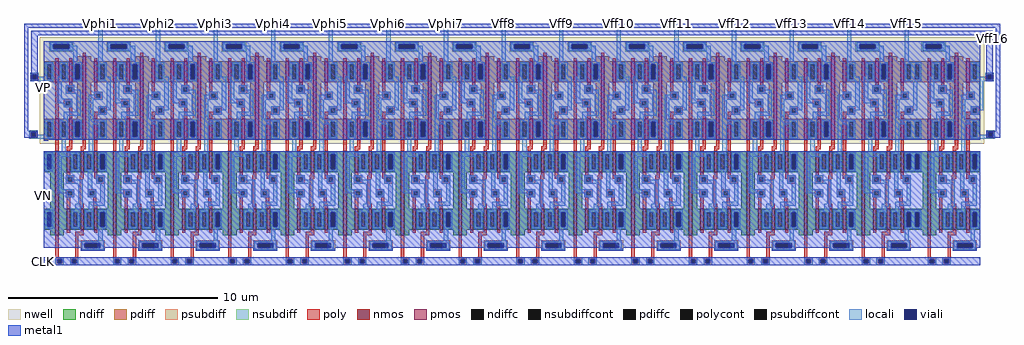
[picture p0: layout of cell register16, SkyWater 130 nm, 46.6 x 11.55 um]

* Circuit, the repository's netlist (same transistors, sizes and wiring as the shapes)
* SPICE3 file created from register16.ext - technology: sky130A

.subckt csrl_dff2 D DB Q QB CLK VP VN
X0 VP a_n950_630# a_n950_1180# VP sky130_fd_pr__pfet_01v8 ad=0.5 pd=3.16 as=0.25 ps=1.5 w=1 l=0.15
X1 a_n950_630# a_n950_1180# a_n950_n280# VN sky130_fd_pr__nfet_01v8 ad=0.25 pd=1.5 as=0.433 ps=3.03 w=1 l=0.15
X2 a_n950_630# CLK DB VP sky130_fd_pr__pfet_01v8 ad=0.25 pd=1.5 as=0.75 ps=3.5 w=1 l=0.15
X3 QB CLK a_n950_630# VN sky130_fd_pr__nfet_01v8 ad=0.25 pd=1.5 as=0.25 ps=1.5 w=1 l=0.15
X4 VP a_n950_1180# a_n950_630# VP sky130_fd_pr__pfet_01v8 ad=0.5 pd=3.16 as=0.25 ps=1.5 w=1 l=0.15
X5 VN Q QB VN sky130_fd_pr__nfet_01v8 ad=0.5 pd=3 as=0.25 ps=1.5 w=1 l=0.15
X6 a_n690_630# CLK VP VP sky130_fd_pr__pfet_01v8 ad=0.433 pd=3.03 as=0.5 ps=3.16 w=4 l=0.15
X7 a_n950_n280# CLK VN VN sky130_fd_pr__nfet_01v8 ad=0.433 pd=3.03 as=2 ps=10.5 w=4 l=0.15
X8 a_n950_1180# a_n950_630# a_n950_n280# VN sky130_fd_pr__nfet_01v8 ad=0.25 pd=1.5 as=0.433 ps=3.03 w=1 l=0.15
X9 Q CLK a_n950_1180# VN sky130_fd_pr__nfet_01v8 ad=0.25 pd=1.5 as=0.25 ps=1.5 w=1 l=0.15
X10 VN QB Q VN sky130_fd_pr__nfet_01v8 ad=0.5 pd=3 as=0.25 ps=1.5 w=1 l=0.15
X11 Q QB a_n690_630# VP sky130_fd_pr__pfet_01v8 ad=0.5 pd=3 as=0.433 ps=3.03 w=1 l=0.15
X12 QB Q a_n690_630# VP sky130_fd_pr__pfet_01v8 ad=0.5 pd=3 as=0.433 ps=3.03 w=1 l=0.15
X13 a_n950_1180# CLK D VP sky130_fd_pr__pfet_01v8 ad=0.25 pd=1.5 as=0.75 ps=3.5 w=1 l=0.15
.ends

.subckt csrl_dff3 D DB Q QB CLK VP VN
X0 VP a_n950_630# a_n950_1180# VP sky130_fd_pr__pfet_01v8 ad=0.5 pd=3.16 as=0.25 ps=1.5 w=1 l=0.15
X1 a_n950_630# a_n950_1180# a_n950_n280# VN sky130_fd_pr__nfet_01v8 ad=0.25 pd=1.5 as=0.433 ps=3.03 w=1 l=0.15
X2 a_n950_630# CLK DB VP sky130_fd_pr__pfet_01v8 ad=0.25 pd=1.5 as=0.75 ps=3.5 w=1 l=0.15
X3 QB CLK a_n950_630# VN sky130_fd_pr__nfet_01v8 ad=0.25 pd=1.5 as=0.25 ps=1.5 w=1 l=0.15
X4 VP a_n950_1180# a_n950_630# VP sky130_fd_pr__pfet_01v8 ad=0.5 pd=3.16 as=0.25 ps=1.5 w=1 l=0.15
X5 VN Q QB VN sky130_fd_pr__nfet_01v8 ad=0.5 pd=3 as=0.25 ps=1.5 w=1 l=0.15
X6 a_n690_630# CLK VP VP sky130_fd_pr__pfet_01v8 ad=0.433 pd=3.03 as=0.5 ps=3.16 w=4 l=0.15
X7 a_n950_n280# CLK VN VN sky130_fd_pr__nfet_01v8 ad=0.433 pd=3.03 as=2 ps=10.5 w=4 l=0.15
X8 a_n950_1180# a_n950_630# a_n950_n280# VN sky130_fd_pr__nfet_01v8 ad=0.25 pd=1.5 as=0.433 ps=3.03 w=1 l=0.15
X9 Q CLK a_n950_1180# VN sky130_fd_pr__nfet_01v8 ad=0.25 pd=1.5 as=0.25 ps=1.5 w=1 l=0.15
X10 VN QB Q VN sky130_fd_pr__nfet_01v8 ad=0.5 pd=3 as=0.25 ps=1.5 w=1 l=0.15
X11 Q QB a_n690_630# VP sky130_fd_pr__pfet_01v8 ad=0.5 pd=3 as=0.433 ps=3.03 w=1 l=0.15
X12 QB Q a_n690_630# VP sky130_fd_pr__pfet_01v8 ad=0.5 pd=3 as=0.433 ps=3.03 w=1 l=0.15
X13 a_n950_1180# CLK D VP sky130_fd_pr__pfet_01v8 ad=0.25 pd=1.5 as=0.75 ps=3.5 w=1 l=0.15
.ends

.subckt csrl_dff1 D DB Q QB CLK VP VN
X0 VP a_n950_630# a_n950_1180# VP sky130_fd_pr__pfet_01v8 ad=0.5 pd=3.16 as=0.25 ps=1.5 w=1 l=0.15
X1 a_n950_630# a_n950_1180# a_n950_n280# VN sky130_fd_pr__nfet_01v8 ad=0.25 pd=1.5 as=0.433 ps=3.03 w=1 l=0.15
X2 a_n950_630# CLK DB VP sky130_fd_pr__pfet_01v8 ad=0.25 pd=1.5 as=0.55 ps=3.1 w=1 l=0.15
X3 QB CLK a_n950_630# VN sky130_fd_pr__nfet_01v8 ad=0.25 pd=1.5 as=0.25 ps=1.5 w=1 l=0.15
X4 VP a_n950_1180# a_n950_630# VP sky130_fd_pr__pfet_01v8 ad=0.5 pd=3.16 as=0.25 ps=1.5 w=1 l=0.15
X5 VN Q QB VN sky130_fd_pr__nfet_01v8 ad=0.5 pd=3 as=0.25 ps=1.5 w=1 l=0.15
X6 a_n690_630# CLK VP VP sky130_fd_pr__pfet_01v8 ad=0.433 pd=3.03 as=0.5 ps=3.16 w=4 l=0.15
X7 a_n950_n280# CLK VN VN sky130_fd_pr__nfet_01v8 ad=0.433 pd=3.03 as=1.6 ps=9.7 w=4 l=0.15
X8 a_n950_1180# a_n950_630# a_n950_n280# VN sky130_fd_pr__nfet_01v8 ad=0.25 pd=1.5 as=0.433 ps=3.03 w=1 l=0.15
X9 Q CLK a_n950_1180# VN sky130_fd_pr__nfet_01v8 ad=0.25 pd=1.5 as=0.25 ps=1.5 w=1 l=0.15
X10 VN QB Q VN sky130_fd_pr__nfet_01v8 ad=0.5 pd=3 as=0.25 ps=1.5 w=1 l=0.15
X11 Q QB a_n690_630# VP sky130_fd_pr__pfet_01v8 ad=0.5 pd=3 as=0.433 ps=3.03 w=1 l=0.15
X12 QB Q a_n690_630# VP sky130_fd_pr__pfet_01v8 ad=0.5 pd=3 as=0.433 ps=3.03 w=1 l=0.15
X13 a_n950_1180# CLK D VP sky130_fd_pr__pfet_01v8 ad=0.25 pd=1.5 as=0.55 ps=3.1 w=1 l=0.15
.ends

.subckt register16 VP VN Vphi1 Vphi2 Vphi3 Vphi4 Vphi5 Vphi6 Vphi7 Vff8 Vff9 Vff10
+ Vff11 Vff12 Vff13 Vff14 Vff15 Vff16 CLK
Xcsrl_dff2_10 Vff11 csrl_dff2_9/QB Vff12 csrl_dff2_11/DB CLK VP VN csrl_dff2
Xcsrl_dff2_11 Vff12 csrl_dff2_11/DB Vff13 csrl_dff2_12/DB CLK VP VN csrl_dff2
Xcsrl_dff2_12 Vff13 csrl_dff2_12/DB Vff14 csrl_dff2_13/DB CLK VP VN csrl_dff2
Xcsrl_dff2_0 Vphi1 csrl_dff2_0/DB Vphi2 csrl_dff2_1/DB CLK VP VN csrl_dff2
Xcsrl_dff2_13 Vff14 csrl_dff2_13/DB Vff15 csrl_dff3_0/DB CLK VP VN csrl_dff2
Xcsrl_dff2_2 Vphi3 csrl_dff2_2/DB Vphi4 csrl_dff2_3/DB CLK VP VN csrl_dff2
Xcsrl_dff2_1 Vphi2 csrl_dff2_1/DB Vphi3 csrl_dff2_2/DB CLK VP VN csrl_dff2
Xcsrl_dff2_3 Vphi4 csrl_dff2_3/DB Vphi5 csrl_dff2_4/DB CLK VP VN csrl_dff2
Xcsrl_dff2_4 Vphi5 csrl_dff2_4/DB Vphi6 csrl_dff2_5/DB CLK VP VN csrl_dff2
Xcsrl_dff2_5 Vphi6 csrl_dff2_5/DB Vphi7 csrl_dff2_6/DB CLK VP VN csrl_dff2
Xcsrl_dff2_6 Vphi7 csrl_dff2_6/DB Vff8 csrl_dff2_7/DB CLK VP VN csrl_dff2
Xcsrl_dff2_7 Vff8 csrl_dff2_7/DB Vff9 csrl_dff2_8/DB CLK VP VN csrl_dff2
Xcsrl_dff2_8 Vff9 csrl_dff2_8/DB Vff10 csrl_dff2_9/DB CLK VP VN csrl_dff2
Xcsrl_dff2_9 Vff10 csrl_dff2_9/DB Vff11 csrl_dff2_9/QB CLK VP VN csrl_dff2
Xcsrl_dff3_0 Vff15 csrl_dff3_0/DB Vff16 csrl_dff3_0/QB CLK VP VN csrl_dff3
Xcsrl_dff1_0 Vff16 csrl_dff3_0/QB Vphi1 csrl_dff2_0/DB CLK VP VN csrl_dff1
.ends

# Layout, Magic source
magic
tech sky130A
<< poly >>
rect -60 895 -20 905
rect -60 875 -50 895
rect -30 875 -20 895
rect -60 865 -20 875
rect 4500 895 4540 905
rect 4500 875 4510 895
rect 4530 875 4540 895
rect 4500 865 4540 875
rect -65 620 -25 630
rect -65 600 -55 620
rect -35 600 -25 620
rect -65 590 -25 600
rect 4505 620 4545 630
rect 4505 600 4515 620
rect 4535 600 4545 620
rect 4505 590 4545 600
<< polycont >>
rect -50 875 -30 895
rect 4510 875 4530 895
rect -55 600 -35 620
rect 4515 600 4535 620
<< locali >>
rect 265 1055 285 1140
rect 540 1055 560 1140
rect 815 1055 835 1140
rect 1090 1055 1110 1140
rect 1365 1055 1385 1140
rect 1640 1055 1660 1140
rect 1915 1055 1935 1140
rect 2190 1055 2210 1140
rect 2465 1055 2485 1140
rect 2740 1055 2760 1140
rect 3015 1055 3035 1140
rect 3290 1055 3310 1140
rect 3565 1055 3585 1140
rect 3840 1055 3860 1140
rect 4115 1055 4135 1140
rect -60 895 -20 905
rect -60 875 -50 895
rect -30 885 -20 895
rect 4500 895 4540 905
rect 4500 885 4510 895
rect -30 875 5 885
rect -60 865 5 875
rect 4475 875 4510 885
rect 4530 875 4540 895
rect 4475 865 4540 875
rect -65 620 -25 630
rect -65 600 -55 620
rect -35 610 -25 620
rect 4505 620 4545 630
rect 4505 610 4515 620
rect -35 600 5 610
rect -65 590 5 600
rect 4475 600 4515 610
rect 4535 600 4545 620
rect 4475 590 4545 600
<< viali >>
rect -50 875 -30 895
rect 4510 875 4530 895
rect -55 600 -35 620
rect 4515 600 4535 620
<< metal1 >>
rect -90 1120 4570 1140
rect -90 625 -70 1120
rect -55 1085 4535 1105
rect -55 895 -25 1085
rect -55 875 -50 895
rect -30 875 -25 895
rect -55 865 -25 875
rect -90 620 -25 625
rect -90 600 -55 620
rect -35 600 -25 620
rect -90 595 -25 600
rect 5 585 45 1055
rect 4505 895 4535 1085
rect 4505 875 4510 895
rect 4530 875 4535 895
rect 4505 865 4535 875
rect 4550 625 4570 1120
rect 4505 620 4570 625
rect 4505 600 4515 620
rect 4535 600 4570 620
rect 4505 595 4570 600
rect 5 580 25 585
rect 5 70 50 530
rect 5 -15 40 25
use csrl_dff1  csrl_dff1_0
transform 1 0 550 0 1 270
box -565 -285 -220 805
use csrl_dff2  csrl_dff2_0
transform 1 0 825 0 1 270
box -585 -285 -220 805
use csrl_dff2  csrl_dff2_1
transform 1 0 1100 0 1 270
box -585 -285 -220 805
use csrl_dff2  csrl_dff2_2
transform 1 0 1375 0 1 270
box -585 -285 -220 805
use csrl_dff2  csrl_dff2_3
transform 1 0 1650 0 1 270
box -585 -285 -220 805
use csrl_dff2  csrl_dff2_4
transform 1 0 1925 0 1 270
box -585 -285 -220 805
use csrl_dff2  csrl_dff2_5
transform 1 0 2200 0 1 270
box -585 -285 -220 805
use csrl_dff2  csrl_dff2_6
transform 1 0 2475 0 1 270
box -585 -285 -220 805
use csrl_dff2  csrl_dff2_7
transform 1 0 2750 0 1 270
box -585 -285 -220 805
use csrl_dff2  csrl_dff2_8
transform 1 0 3025 0 1 270
box -585 -285 -220 805
use csrl_dff2  csrl_dff2_9
transform 1 0 3300 0 1 270
box -585 -285 -220 805
use csrl_dff2  csrl_dff2_10
transform 1 0 3575 0 1 270
box -585 -285 -220 805
use csrl_dff2  csrl_dff2_11
transform 1 0 3850 0 1 270
box -585 -285 -220 805
use csrl_dff2  csrl_dff2_12
transform 1 0 4125 0 1 270
box -585 -285 -220 805
use csrl_dff2  csrl_dff2_13
transform 1 0 4400 0 1 270
box -585 -285 -220 805
use csrl_dff3  csrl_dff3_0
transform 1 0 4715 0 1 270
box -585 -285 -220 805
<< labels >>
rlabel locali 275 1140 275 1140 1 Vphi1
port 3 n
rlabel locali 550 1140 550 1140 1 Vphi2
port 4 n
rlabel locali 825 1140 825 1140 1 Vphi3
port 5 n
rlabel locali 1100 1140 1100 1140 1 Vphi4
port 6 n
rlabel locali 1375 1140 1375 1140 1 Vphi5
port 7 n
rlabel locali 1650 1140 1650 1140 1 Vphi6
port 8 n
rlabel locali 1925 1140 1925 1140 1 Vphi7
port 9 n
rlabel metal1 4535 1070 4535 1070 3 Vff16
port 18 e
rlabel locali 2200 1140 2200 1140 1 Vff8
port 10 n
rlabel locali 2475 1140 2475 1140 1 Vff9
port 11 n
rlabel locali 2750 1140 2750 1140 1 Vff10
port 12 n
rlabel locali 3025 1140 3025 1140 1 Vff11
port 13 n
rlabel locali 3300 1140 3300 1140 1 Vff12
port 14 n
rlabel locali 3575 1140 3575 1140 1 Vff13
port 15 n
rlabel locali 3850 1140 3850 1140 1 Vff14
port 16 n
rlabel locali 4125 1140 4125 1140 1 Vff15
port 17 n
rlabel metal1 5 320 5 320 7 VN
port 2 w
rlabel metal1 5 835 5 835 7 VP
port 1 w
rlabel metal1 5 5 5 5 7 CLK
port 19 w
<< end >>

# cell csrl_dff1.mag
magic
tech sky130A
<< nwell >>
rect -565 295 -220 805
<< nmos >>
rect -490 -140 -475 260
rect -435 160 -420 260
rect -370 160 -355 260
rect -305 160 -290 260
rect -435 -115 -420 -15
rect -370 -115 -355 -15
rect -305 -115 -290 -15
<< pmos >>
rect -490 590 -475 690
rect -425 590 -410 690
rect -490 315 -475 415
rect -425 315 -410 415
rect -360 315 -345 715
rect -305 590 -290 690
rect -305 315 -290 415
<< ndiff >>
rect -545 245 -490 260
rect -545 175 -530 245
rect -510 175 -490 245
rect -545 160 -490 175
rect -515 -15 -490 160
rect -545 -30 -490 -15
rect -545 -100 -530 -30
rect -510 -100 -490 -30
rect -545 -115 -490 -100
rect -515 -140 -490 -115
rect -475 160 -435 260
rect -420 245 -370 260
rect -420 175 -405 245
rect -385 175 -370 245
rect -420 160 -370 175
rect -355 245 -305 260
rect -355 175 -340 245
rect -320 175 -305 245
rect -355 160 -305 175
rect -290 245 -240 260
rect -290 175 -275 245
rect -255 175 -240 245
rect -290 160 -240 175
rect -475 -15 -450 160
rect -475 -115 -435 -15
rect -420 -30 -370 -15
rect -420 -100 -405 -30
rect -385 -100 -370 -30
rect -420 -115 -370 -100
rect -355 -30 -305 -15
rect -355 -100 -340 -30
rect -320 -100 -305 -30
rect -355 -115 -305 -100
rect -290 -30 -240 -15
rect -290 -100 -275 -30
rect -255 -100 -240 -30
rect -290 -115 -240 -100
rect -475 -140 -450 -115
<< pdiff >>
rect -385 690 -360 715
rect -545 675 -490 690
rect -545 605 -530 675
rect -510 605 -490 675
rect -545 590 -490 605
rect -475 675 -425 690
rect -475 605 -460 675
rect -440 605 -425 675
rect -475 590 -425 605
rect -410 675 -360 690
rect -410 605 -395 675
rect -375 605 -360 675
rect -410 590 -360 605
rect -385 415 -360 590
rect -545 400 -490 415
rect -545 330 -530 400
rect -510 330 -490 400
rect -545 315 -490 330
rect -475 400 -425 415
rect -475 330 -460 400
rect -440 330 -425 400
rect -475 315 -425 330
rect -410 400 -360 415
rect -410 330 -395 400
rect -375 330 -360 400
rect -410 315 -360 330
rect -345 690 -320 715
rect -345 590 -305 690
rect -290 675 -240 690
rect -290 605 -275 675
rect -255 605 -240 675
rect -290 590 -240 605
rect -345 415 -320 590
rect -345 315 -305 415
rect -290 400 -240 415
rect -290 330 -275 400
rect -255 330 -240 400
rect -290 315 -240 330
<< ndiffc >>
rect -530 175 -510 245
rect -530 -100 -510 -30
rect -405 175 -385 245
rect -340 175 -320 245
rect -275 175 -255 245
rect -405 -100 -385 -30
rect -340 -100 -320 -30
rect -275 -100 -255 -30
<< pdiffc >>
rect -530 605 -510 675
rect -460 605 -440 675
rect -395 605 -375 675
rect -530 330 -510 400
rect -460 330 -440 400
rect -395 330 -375 400
rect -275 605 -255 675
rect -275 330 -255 400
<< psubdiff >>
rect -370 -180 -255 -165
rect -370 -200 -350 -180
rect -275 -200 -255 -180
rect -370 -215 -255 -200
<< nsubdiff >>
rect -520 770 -405 785
rect -520 750 -500 770
rect -425 750 -405 770
rect -520 735 -405 750
<< psubdiffcont >>
rect -350 -200 -275 -180
<< nsubdiffcont >>
rect -500 750 -425 770
<< poly >>
rect -360 715 -345 730
rect -490 690 -475 705
rect -425 690 -410 705
rect -490 415 -475 590
rect -425 575 -410 590
rect -440 565 -400 575
rect -440 545 -430 565
rect -410 545 -400 565
rect -440 535 -400 545
rect -450 500 -410 510
rect -450 480 -440 500
rect -420 480 -410 500
rect -450 470 -410 480
rect -425 415 -410 470
rect -305 690 -290 705
rect -305 545 -290 590
rect -305 535 -265 545
rect -305 515 -295 535
rect -275 515 -265 535
rect -305 505 -265 515
rect -285 465 -245 475
rect -285 450 -275 465
rect -305 445 -275 450
rect -255 445 -245 465
rect -305 435 -245 445
rect -305 415 -290 435
rect -490 260 -475 315
rect -425 285 -410 315
rect -360 285 -345 315
rect -435 270 -410 285
rect -370 270 -345 285
rect -435 260 -420 270
rect -370 260 -355 270
rect -305 260 -290 315
rect -435 145 -420 160
rect -370 145 -355 160
rect -440 135 -400 145
rect -440 115 -430 135
rect -410 115 -400 135
rect -440 105 -400 115
rect -375 130 -355 145
rect -305 145 -290 160
rect -305 135 -255 145
rect -305 130 -285 135
rect -440 70 -400 80
rect -440 50 -430 70
rect -410 50 -400 70
rect -440 40 -400 50
rect -435 -15 -420 40
rect -375 10 -360 130
rect -295 115 -285 130
rect -265 115 -255 135
rect -295 105 -255 115
rect -335 70 -295 80
rect -335 50 -325 70
rect -305 50 -295 70
rect -335 40 -295 50
rect -310 10 -295 40
rect -375 -5 -355 10
rect -310 -5 -290 10
rect -370 -15 -355 -5
rect -305 -15 -290 -5
rect -435 -130 -420 -115
rect -370 -125 -355 -115
rect -395 -140 -355 -125
rect -305 -130 -290 -115
rect -490 -245 -475 -140
rect -395 -245 -380 -140
rect -490 -255 -450 -245
rect -490 -275 -480 -255
rect -460 -275 -450 -255
rect -490 -285 -450 -275
rect -420 -255 -380 -245
rect -420 -275 -410 -255
rect -390 -275 -380 -255
rect -420 -285 -380 -275
<< polycont >>
rect -430 545 -410 565
rect -440 480 -420 500
rect -295 515 -275 535
rect -275 445 -255 465
rect -430 115 -410 135
rect -430 50 -410 70
rect -285 115 -265 135
rect -325 50 -305 70
rect -480 -275 -460 -255
rect -410 -275 -390 -255
<< locali >>
rect -515 770 -410 780
rect -515 750 -500 770
rect -425 765 -410 770
rect -425 750 -385 765
rect -515 740 -385 750
rect -410 735 -385 740
rect -405 685 -385 735
rect -285 685 -265 805
rect -540 675 -500 685
rect -540 615 -530 675
rect -565 605 -530 615
rect -510 605 -500 675
rect -470 675 -430 685
rect -470 615 -460 675
rect -565 595 -500 605
rect -480 605 -460 615
rect -440 605 -430 675
rect -480 595 -430 605
rect -405 675 -365 685
rect -405 605 -395 675
rect -375 605 -365 675
rect -405 595 -365 605
rect -285 675 -245 685
rect -285 605 -275 675
rect -255 615 -245 675
rect -255 605 -225 615
rect -285 595 -225 605
rect -480 510 -460 595
rect -440 565 -400 575
rect -440 545 -430 565
rect -410 555 -400 565
rect -410 545 -370 555
rect -440 535 -370 545
rect -480 500 -410 510
rect -480 490 -440 500
rect -450 480 -440 490
rect -420 480 -410 500
rect -450 470 -410 480
rect -390 450 -370 535
rect -305 535 -265 545
rect -305 530 -295 535
rect -450 430 -370 450
rect -330 515 -295 530
rect -275 515 -265 535
rect -330 505 -265 515
rect -450 410 -430 430
rect -330 410 -310 505
rect -245 475 -225 595
rect -285 465 -225 475
rect -285 445 -275 465
rect -255 455 -225 465
rect -255 445 -245 455
rect -285 435 -245 445
rect -540 400 -500 410
rect -540 340 -530 400
rect -565 330 -530 340
rect -510 330 -500 400
rect -565 320 -500 330
rect -470 400 -430 410
rect -470 330 -460 400
rect -440 330 -430 400
rect -470 320 -430 330
rect -405 400 -365 410
rect -405 330 -395 400
rect -375 330 -365 400
rect -405 320 -365 330
rect -330 400 -245 410
rect -330 390 -275 400
rect -460 255 -440 320
rect -330 255 -310 390
rect -285 330 -275 390
rect -255 330 -245 400
rect -285 320 -245 330
rect -540 245 -500 255
rect -540 175 -530 245
rect -510 175 -500 245
rect -540 165 -500 175
rect -480 245 -375 255
rect -480 235 -405 245
rect -480 80 -460 235
rect -415 175 -405 235
rect -385 175 -375 245
rect -415 165 -375 175
rect -350 245 -310 255
rect -350 175 -340 245
rect -320 175 -310 245
rect -350 165 -310 175
rect -285 245 -245 255
rect -285 175 -275 245
rect -255 175 -245 245
rect -285 165 -245 175
rect -440 135 -400 145
rect -440 115 -430 135
rect -410 125 -400 135
rect -410 115 -360 125
rect -440 105 -360 115
rect -480 70 -400 80
rect -480 60 -430 70
rect -440 50 -430 60
rect -410 50 -400 70
rect -440 40 -400 50
rect -380 10 -360 105
rect -335 80 -315 165
rect -295 135 -255 145
rect -295 115 -285 135
rect -265 115 -255 135
rect -295 105 -255 115
rect -335 70 -295 80
rect -335 50 -325 70
rect -305 50 -295 70
rect -335 40 -295 50
rect -275 20 -255 105
rect -395 -5 -360 10
rect -330 0 -255 20
rect -395 -20 -370 -5
rect -330 -20 -310 0
rect -540 -30 -500 -20
rect -540 -100 -530 -30
rect -510 -100 -500 -30
rect -540 -110 -500 -100
rect -415 -30 -370 -20
rect -350 -30 -310 -20
rect -415 -100 -405 -30
rect -385 -100 -375 -30
rect -415 -110 -375 -100
rect -350 -100 -340 -30
rect -320 -100 -310 -30
rect -350 -110 -310 -100
rect -285 -30 -245 -20
rect -285 -100 -275 -30
rect -255 -100 -245 -30
rect -285 -110 -245 -100
rect -285 -170 -265 -110
rect -365 -180 -260 -170
rect -365 -200 -350 -180
rect -275 -200 -260 -180
rect -365 -210 -260 -200
rect -490 -255 -450 -245
rect -490 -275 -480 -255
rect -460 -275 -450 -255
rect -490 -285 -450 -275
rect -420 -255 -380 -245
rect -420 -275 -410 -255
rect -390 -275 -380 -255
rect -420 -285 -380 -275
<< viali >>
rect -500 750 -425 770
rect -395 605 -375 675
rect -395 330 -375 400
rect -530 175 -510 245
rect -275 175 -255 245
rect -530 -100 -510 -30
rect -275 -100 -255 -30
rect -350 -200 -275 -180
rect -480 -275 -460 -255
rect -410 -275 -390 -255
<< metal1 >>
rect -545 770 -240 785
rect -545 750 -500 770
rect -425 750 -240 770
rect -545 675 -240 750
rect -545 605 -395 675
rect -375 605 -240 675
rect -545 400 -240 605
rect -545 330 -395 400
rect -375 330 -240 400
rect -545 315 -240 330
rect -545 245 -240 260
rect -545 175 -530 245
rect -510 175 -275 245
rect -255 175 -240 245
rect -545 -30 -240 175
rect -545 -100 -530 -30
rect -510 -100 -275 -30
rect -255 -100 -240 -30
rect -545 -180 -240 -100
rect -545 -200 -350 -180
rect -275 -200 -240 -180
rect -370 -215 -255 -200
rect -545 -255 -240 -245
rect -545 -275 -480 -255
rect -460 -275 -410 -255
rect -390 -275 -240 -255
rect -545 -285 -240 -275
<< labels >>
rlabel metal1 -545 550 -545 550 7 VP
port 6 w
rlabel metal1 -545 45 -545 45 7 VN
port 7 w
rlabel locali -565 605 -565 605 7 D
port 1 w
rlabel locali -565 330 -565 330 7 DB
port 2 w
rlabel locali -275 805 -275 805 1 Q
port 3 n
rlabel locali -245 365 -245 365 3 QB
port 4 e
rlabel metal1 -545 -265 -545 -265 1 CLK
port 5 n
<< end >>

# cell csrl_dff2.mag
magic
tech sky130A
<< nwell >>
rect -585 295 -220 805
<< nmos >>
rect -490 -140 -475 260
rect -435 160 -420 260
rect -370 160 -355 260
rect -305 160 -290 260
rect -435 -115 -420 -15
rect -370 -115 -355 -15
rect -305 -115 -290 -15
<< pmos >>
rect -490 590 -475 690
rect -425 590 -410 690
rect -490 315 -475 415
rect -425 315 -410 415
rect -360 315 -345 715
rect -305 590 -290 690
rect -305 315 -290 415
<< ndiff >>
rect -565 245 -490 260
rect -565 175 -550 245
rect -530 175 -490 245
rect -565 160 -490 175
rect -515 -15 -490 160
rect -565 -30 -490 -15
rect -565 -100 -550 -30
rect -530 -100 -490 -30
rect -565 -115 -490 -100
rect -515 -140 -490 -115
rect -475 160 -435 260
rect -420 245 -370 260
rect -420 175 -405 245
rect -385 175 -370 245
rect -420 160 -370 175
rect -355 245 -305 260
rect -355 175 -340 245
rect -320 175 -305 245
rect -355 160 -305 175
rect -290 245 -240 260
rect -290 175 -275 245
rect -255 175 -240 245
rect -290 160 -240 175
rect -475 -15 -450 160
rect -475 -115 -435 -15
rect -420 -30 -370 -15
rect -420 -100 -405 -30
rect -385 -100 -370 -30
rect -420 -115 -370 -100
rect -355 -30 -305 -15
rect -355 -100 -340 -30
rect -320 -100 -305 -30
rect -355 -115 -305 -100
rect -290 -30 -240 -15
rect -290 -100 -275 -30
rect -255 -100 -240 -30
rect -290 -115 -240 -100
rect -475 -140 -450 -115
<< pdiff >>
rect -385 690 -360 715
rect -565 675 -490 690
rect -565 605 -550 675
rect -530 605 -490 675
rect -565 590 -490 605
rect -475 675 -425 690
rect -475 605 -460 675
rect -440 605 -425 675
rect -475 590 -425 605
rect -410 675 -360 690
rect -410 605 -395 675
rect -375 605 -360 675
rect -410 590 -360 605
rect -385 415 -360 590
rect -565 400 -490 415
rect -565 330 -550 400
rect -530 330 -490 400
rect -565 315 -490 330
rect -475 400 -425 415
rect -475 330 -460 400
rect -440 330 -425 400
rect -475 315 -425 330
rect -410 400 -360 415
rect -410 330 -395 400
rect -375 330 -360 400
rect -410 315 -360 330
rect -345 690 -320 715
rect -345 590 -305 690
rect -290 675 -240 690
rect -290 605 -275 675
rect -255 605 -240 675
rect -290 590 -240 605
rect -345 415 -320 590
rect -345 315 -305 415
rect -290 400 -240 415
rect -290 330 -275 400
rect -255 330 -240 400
rect -290 315 -240 330
<< ndiffc >>
rect -550 175 -530 245
rect -550 -100 -530 -30
rect -405 175 -385 245
rect -340 175 -320 245
rect -275 175 -255 245
rect -405 -100 -385 -30
rect -340 -100 -320 -30
rect -275 -100 -255 -30
<< pdiffc >>
rect -550 605 -530 675
rect -460 605 -440 675
rect -395 605 -375 675
rect -550 330 -530 400
rect -460 330 -440 400
rect -395 330 -375 400
rect -275 605 -255 675
rect -275 330 -255 400
<< psubdiff >>
rect -370 -180 -255 -165
rect -370 -200 -350 -180
rect -275 -200 -255 -180
rect -370 -215 -255 -200
<< nsubdiff >>
rect -520 770 -405 785
rect -520 750 -500 770
rect -425 750 -405 770
rect -520 735 -405 750
<< psubdiffcont >>
rect -350 -200 -275 -180
<< nsubdiffcont >>
rect -500 750 -425 770
<< poly >>
rect -360 715 -345 730
rect -490 690 -475 705
rect -425 690 -410 705
rect -490 415 -475 590
rect -425 575 -410 590
rect -440 565 -400 575
rect -440 545 -430 565
rect -410 545 -400 565
rect -440 535 -400 545
rect -450 500 -410 510
rect -450 480 -440 500
rect -420 480 -410 500
rect -450 470 -410 480
rect -425 415 -410 470
rect -305 690 -290 705
rect -305 545 -290 590
rect -305 535 -265 545
rect -305 515 -295 535
rect -275 515 -265 535
rect -305 505 -265 515
rect -285 465 -245 475
rect -285 450 -275 465
rect -305 445 -275 450
rect -255 445 -245 465
rect -305 435 -245 445
rect -305 415 -290 435
rect -490 260 -475 315
rect -425 285 -410 315
rect -360 285 -345 315
rect -435 270 -410 285
rect -370 270 -345 285
rect -435 260 -420 270
rect -370 260 -355 270
rect -305 260 -290 315
rect -435 145 -420 160
rect -370 145 -355 160
rect -440 135 -400 145
rect -440 115 -430 135
rect -410 115 -400 135
rect -440 105 -400 115
rect -375 130 -355 145
rect -305 145 -290 160
rect -305 135 -255 145
rect -305 130 -285 135
rect -440 70 -400 80
rect -440 50 -430 70
rect -410 50 -400 70
rect -440 40 -400 50
rect -435 -15 -420 40
rect -375 10 -360 130
rect -295 115 -285 130
rect -265 115 -255 135
rect -295 105 -255 115
rect -335 70 -295 80
rect -335 50 -325 70
rect -305 50 -295 70
rect -335 40 -295 50
rect -310 10 -295 40
rect -375 -5 -355 10
rect -310 -5 -290 10
rect -370 -15 -355 -5
rect -305 -15 -290 -5
rect -435 -130 -420 -115
rect -370 -125 -355 -115
rect -395 -140 -355 -125
rect -305 -130 -290 -115
rect -490 -245 -475 -140
rect -395 -245 -380 -140
rect -490 -255 -450 -245
rect -490 -275 -480 -255
rect -460 -275 -450 -255
rect -490 -285 -450 -275
rect -420 -255 -380 -245
rect -420 -275 -410 -255
rect -390 -275 -380 -255
rect -420 -285 -380 -275
<< polycont >>
rect -430 545 -410 565
rect -440 480 -420 500
rect -295 515 -275 535
rect -275 445 -255 465
rect -430 115 -410 135
rect -430 50 -410 70
rect -285 115 -265 135
rect -325 50 -305 70
rect -480 -275 -460 -255
rect -410 -275 -390 -255
<< locali >>
rect -515 770 -410 780
rect -515 750 -500 770
rect -425 765 -410 770
rect -425 750 -385 765
rect -515 740 -385 750
rect -410 735 -385 740
rect -405 685 -385 735
rect -285 685 -265 805
rect -560 675 -520 685
rect -560 605 -550 675
rect -530 605 -520 675
rect -470 675 -430 685
rect -470 615 -460 675
rect -560 595 -520 605
rect -480 605 -460 615
rect -440 605 -430 675
rect -480 595 -430 605
rect -405 675 -365 685
rect -405 605 -395 675
rect -375 605 -365 675
rect -405 595 -365 605
rect -285 675 -245 685
rect -285 605 -275 675
rect -255 615 -245 675
rect -255 605 -225 615
rect -285 595 -225 605
rect -480 510 -460 595
rect -440 565 -400 575
rect -440 545 -430 565
rect -410 555 -400 565
rect -410 545 -370 555
rect -440 535 -370 545
rect -480 500 -410 510
rect -480 490 -440 500
rect -450 480 -440 490
rect -420 480 -410 500
rect -450 470 -410 480
rect -390 450 -370 535
rect -305 535 -265 545
rect -305 530 -295 535
rect -450 430 -370 450
rect -330 515 -295 530
rect -275 515 -265 535
rect -330 505 -265 515
rect -450 410 -430 430
rect -330 410 -310 505
rect -245 475 -225 595
rect -285 465 -225 475
rect -285 445 -275 465
rect -255 455 -225 465
rect -255 445 -245 455
rect -285 435 -245 445
rect -560 400 -520 410
rect -560 330 -550 400
rect -530 330 -520 400
rect -560 320 -520 330
rect -470 400 -430 410
rect -470 330 -460 400
rect -440 330 -430 400
rect -470 320 -430 330
rect -405 400 -365 410
rect -405 330 -395 400
rect -375 330 -365 400
rect -405 320 -365 330
rect -330 400 -245 410
rect -330 390 -275 400
rect -460 255 -440 320
rect -330 255 -310 390
rect -285 330 -275 390
rect -255 330 -245 400
rect -285 320 -245 330
rect -560 245 -520 255
rect -560 175 -550 245
rect -530 175 -520 245
rect -560 165 -520 175
rect -480 245 -375 255
rect -480 235 -405 245
rect -480 80 -460 235
rect -415 175 -405 235
rect -385 175 -375 245
rect -415 165 -375 175
rect -350 245 -310 255
rect -350 175 -340 245
rect -320 175 -310 245
rect -350 165 -310 175
rect -285 245 -245 255
rect -285 175 -275 245
rect -255 175 -245 245
rect -285 165 -245 175
rect -440 135 -400 145
rect -440 115 -430 135
rect -410 125 -400 135
rect -410 115 -360 125
rect -440 105 -360 115
rect -480 70 -400 80
rect -480 60 -430 70
rect -440 50 -430 60
rect -410 50 -400 70
rect -440 40 -400 50
rect -380 10 -360 105
rect -335 80 -315 165
rect -295 135 -255 145
rect -295 115 -285 135
rect -265 115 -255 135
rect -295 105 -255 115
rect -335 70 -295 80
rect -335 50 -325 70
rect -305 50 -295 70
rect -335 40 -295 50
rect -275 20 -255 105
rect -395 -5 -360 10
rect -330 0 -255 20
rect -395 -20 -370 -5
rect -330 -20 -310 0
rect -560 -30 -520 -20
rect -560 -100 -550 -30
rect -530 -100 -520 -30
rect -560 -110 -520 -100
rect -415 -30 -370 -20
rect -350 -30 -310 -20
rect -415 -100 -405 -30
rect -385 -100 -375 -30
rect -415 -110 -375 -100
rect -350 -100 -340 -30
rect -320 -100 -310 -30
rect -350 -110 -310 -100
rect -285 -30 -245 -20
rect -285 -100 -275 -30
rect -255 -100 -245 -30
rect -285 -110 -245 -100
rect -285 -170 -265 -110
rect -365 -180 -260 -170
rect -365 -200 -350 -180
rect -275 -200 -260 -180
rect -365 -210 -260 -200
rect -490 -255 -450 -245
rect -490 -275 -480 -255
rect -460 -275 -450 -255
rect -490 -285 -450 -275
rect -420 -255 -380 -245
rect -420 -275 -410 -255
rect -390 -275 -380 -255
rect -420 -285 -380 -275
<< viali >>
rect -500 750 -425 770
rect -395 605 -375 675
rect -395 330 -375 400
rect -550 175 -530 245
rect -275 175 -255 245
rect -550 -100 -530 -30
rect -275 -100 -255 -30
rect -350 -200 -275 -180
rect -480 -275 -460 -255
rect -410 -275 -390 -255
<< metal1 >>
rect -565 770 -240 785
rect -565 750 -500 770
rect -425 750 -240 770
rect -565 675 -240 750
rect -565 605 -395 675
rect -375 605 -240 675
rect -565 400 -240 605
rect -565 330 -395 400
rect -375 330 -240 400
rect -565 315 -240 330
rect -565 245 -240 260
rect -565 175 -550 245
rect -530 175 -275 245
rect -255 175 -240 245
rect -565 -30 -240 175
rect -565 -100 -550 -30
rect -530 -100 -275 -30
rect -255 -100 -240 -30
rect -565 -180 -240 -100
rect -565 -200 -350 -180
rect -275 -200 -240 -180
rect -370 -215 -255 -200
rect -565 -255 -240 -245
rect -565 -275 -480 -255
rect -460 -275 -410 -255
rect -390 -275 -240 -255
rect -565 -285 -240 -275
<< labels >>
rlabel metal1 -565 45 -565 45 7 VN
port 7 w
rlabel metal1 -565 550 -565 550 7 VP
port 6 w
rlabel pdiff -565 365 -565 365 7 DB
port 2 w
rlabel pdiff -565 640 -565 640 7 D
port 1 w
rlabel locali -245 365 -245 365 3 QB
port 4 e
rlabel locali -275 805 -275 805 1 Q
port 3 n
rlabel metal1 -565 -265 -565 -265 1 CLK
port 5 n
<< end >>

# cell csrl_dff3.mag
magic
tech sky130A
<< nwell >>
rect -585 295 -220 805
<< nmos >>
rect -490 -140 -475 260
rect -435 160 -420 260
rect -370 160 -355 260
rect -305 160 -290 260
rect -435 -115 -420 -15
rect -370 -115 -355 -15
rect -305 -115 -290 -15
<< pmos >>
rect -490 590 -475 690
rect -425 590 -410 690
rect -490 315 -475 415
rect -425 315 -410 415
rect -360 315 -345 715
rect -305 590 -290 690
rect -305 315 -290 415
<< ndiff >>
rect -565 245 -490 260
rect -565 175 -550 245
rect -530 175 -490 245
rect -565 160 -490 175
rect -515 -15 -490 160
rect -565 -30 -490 -15
rect -565 -100 -550 -30
rect -530 -100 -490 -30
rect -565 -115 -490 -100
rect -515 -140 -490 -115
rect -475 160 -435 260
rect -420 245 -370 260
rect -420 175 -405 245
rect -385 175 -370 245
rect -420 160 -370 175
rect -355 245 -305 260
rect -355 175 -340 245
rect -320 175 -305 245
rect -355 160 -305 175
rect -290 245 -240 260
rect -290 175 -275 245
rect -255 175 -240 245
rect -290 160 -240 175
rect -475 -15 -450 160
rect -475 -115 -435 -15
rect -420 -30 -370 -15
rect -420 -100 -405 -30
rect -385 -100 -370 -30
rect -420 -115 -370 -100
rect -355 -30 -305 -15
rect -355 -100 -340 -30
rect -320 -100 -305 -30
rect -355 -115 -305 -100
rect -290 -30 -240 -15
rect -290 -100 -275 -30
rect -255 -100 -240 -30
rect -290 -115 -240 -100
rect -475 -140 -450 -115
<< pdiff >>
rect -385 690 -360 715
rect -565 675 -490 690
rect -565 605 -550 675
rect -530 605 -490 675
rect -565 590 -490 605
rect -475 675 -425 690
rect -475 605 -460 675
rect -440 605 -425 675
rect -475 590 -425 605
rect -410 675 -360 690
rect -410 605 -395 675
rect -375 605 -360 675
rect -410 590 -360 605
rect -385 415 -360 590
rect -565 400 -490 415
rect -565 330 -550 400
rect -530 330 -490 400
rect -565 315 -490 330
rect -475 400 -425 415
rect -475 330 -460 400
rect -440 330 -425 400
rect -475 315 -425 330
rect -410 400 -360 415
rect -410 330 -395 400
rect -375 330 -360 400
rect -410 315 -360 330
rect -345 690 -320 715
rect -345 590 -305 690
rect -290 675 -240 690
rect -290 605 -275 675
rect -255 605 -240 675
rect -290 590 -240 605
rect -345 415 -320 590
rect -345 315 -305 415
rect -290 400 -240 415
rect -290 330 -275 400
rect -255 330 -240 400
rect -290 315 -240 330
<< ndiffc >>
rect -550 175 -530 245
rect -550 -100 -530 -30
rect -405 175 -385 245
rect -340 175 -320 245
rect -275 175 -255 245
rect -405 -100 -385 -30
rect -340 -100 -320 -30
rect -275 -100 -255 -30
<< pdiffc >>
rect -550 605 -530 675
rect -460 605 -440 675
rect -395 605 -375 675
rect -550 330 -530 400
rect -460 330 -440 400
rect -395 330 -375 400
rect -275 605 -255 675
rect -275 330 -255 400
<< psubdiff >>
rect -370 -180 -255 -165
rect -370 -200 -350 -180
rect -275 -200 -255 -180
rect -370 -215 -255 -200
<< nsubdiff >>
rect -520 770 -405 785
rect -520 750 -500 770
rect -425 750 -405 770
rect -520 735 -405 750
<< psubdiffcont >>
rect -350 -200 -275 -180
<< nsubdiffcont >>
rect -500 750 -425 770
<< poly >>
rect -360 715 -345 730
rect -490 690 -475 705
rect -425 690 -410 705
rect -490 415 -475 590
rect -425 575 -410 590
rect -440 565 -400 575
rect -440 545 -430 565
rect -410 545 -400 565
rect -440 535 -400 545
rect -450 500 -410 510
rect -450 480 -440 500
rect -420 480 -410 500
rect -450 470 -410 480
rect -425 415 -410 470
rect -305 690 -290 705
rect -305 545 -290 590
rect -305 535 -265 545
rect -305 515 -295 535
rect -275 515 -265 535
rect -305 505 -265 515
rect -285 465 -245 475
rect -285 450 -275 465
rect -305 445 -275 450
rect -255 445 -245 465
rect -305 435 -245 445
rect -305 415 -290 435
rect -490 260 -475 315
rect -425 285 -410 315
rect -360 285 -345 315
rect -435 270 -410 285
rect -370 270 -345 285
rect -435 260 -420 270
rect -370 260 -355 270
rect -305 260 -290 315
rect -435 145 -420 160
rect -370 145 -355 160
rect -440 135 -400 145
rect -440 115 -430 135
rect -410 115 -400 135
rect -440 105 -400 115
rect -375 130 -355 145
rect -305 145 -290 160
rect -305 135 -255 145
rect -305 130 -285 135
rect -440 70 -400 80
rect -440 50 -430 70
rect -410 50 -400 70
rect -440 40 -400 50
rect -435 -15 -420 40
rect -375 10 -360 130
rect -295 115 -285 130
rect -265 115 -255 135
rect -295 105 -255 115
rect -335 70 -295 80
rect -335 50 -325 70
rect -305 50 -295 70
rect -335 40 -295 50
rect -310 10 -295 40
rect -375 -5 -355 10
rect -310 -5 -290 10
rect -370 -15 -355 -5
rect -305 -15 -290 -5
rect -435 -130 -420 -115
rect -370 -125 -355 -115
rect -395 -140 -355 -125
rect -305 -130 -290 -115
rect -490 -245 -475 -140
rect -395 -245 -380 -140
rect -490 -255 -450 -245
rect -490 -275 -480 -255
rect -460 -275 -450 -255
rect -490 -285 -450 -275
rect -420 -255 -380 -245
rect -420 -275 -410 -255
rect -390 -275 -380 -255
rect -420 -285 -380 -275
<< polycont >>
rect -430 545 -410 565
rect -440 480 -420 500
rect -295 515 -275 535
rect -275 445 -255 465
rect -430 115 -410 135
rect -430 50 -410 70
rect -285 115 -265 135
rect -325 50 -305 70
rect -480 -275 -460 -255
rect -410 -275 -390 -255
<< locali >>
rect -515 770 -410 780
rect -515 750 -500 770
rect -425 765 -410 770
rect -425 750 -385 765
rect -515 740 -385 750
rect -410 735 -385 740
rect -405 685 -385 735
rect -560 675 -520 685
rect -560 605 -550 675
rect -530 605 -520 675
rect -470 675 -430 685
rect -470 615 -460 675
rect -560 595 -520 605
rect -480 605 -460 615
rect -440 605 -430 675
rect -480 595 -430 605
rect -405 675 -365 685
rect -405 605 -395 675
rect -375 605 -365 675
rect -405 595 -365 605
rect -285 675 -245 685
rect -285 605 -275 675
rect -255 615 -245 675
rect -255 605 -220 615
rect -285 595 -220 605
rect -480 510 -460 595
rect -440 565 -400 575
rect -440 545 -430 565
rect -410 555 -400 565
rect -410 545 -370 555
rect -440 535 -370 545
rect -480 500 -410 510
rect -480 490 -440 500
rect -450 480 -440 490
rect -420 480 -410 500
rect -450 470 -410 480
rect -390 450 -370 535
rect -305 535 -265 545
rect -305 530 -295 535
rect -450 430 -370 450
rect -330 515 -295 530
rect -275 515 -265 535
rect -330 505 -265 515
rect -450 410 -430 430
rect -330 410 -310 505
rect -245 475 -225 595
rect -285 465 -225 475
rect -285 445 -275 465
rect -255 455 -225 465
rect -255 445 -245 455
rect -285 435 -245 445
rect -560 400 -520 410
rect -560 330 -550 400
rect -530 330 -520 400
rect -560 320 -520 330
rect -470 400 -430 410
rect -470 330 -460 400
rect -440 330 -430 400
rect -470 320 -430 330
rect -405 400 -365 410
rect -405 330 -395 400
rect -375 330 -365 400
rect -405 320 -365 330
rect -330 400 -245 410
rect -330 390 -275 400
rect -460 255 -440 320
rect -330 255 -310 390
rect -285 330 -275 390
rect -255 340 -245 400
rect -255 330 -220 340
rect -285 320 -220 330
rect -560 245 -520 255
rect -560 175 -550 245
rect -530 175 -520 245
rect -560 165 -520 175
rect -480 245 -375 255
rect -480 235 -405 245
rect -480 80 -460 235
rect -415 175 -405 235
rect -385 175 -375 245
rect -415 165 -375 175
rect -350 245 -310 255
rect -350 175 -340 245
rect -320 175 -310 245
rect -350 165 -310 175
rect -285 245 -245 255
rect -285 175 -275 245
rect -255 175 -245 245
rect -285 165 -245 175
rect -440 135 -400 145
rect -440 115 -430 135
rect -410 125 -400 135
rect -410 115 -360 125
rect -440 105 -360 115
rect -480 70 -400 80
rect -480 60 -430 70
rect -440 50 -430 60
rect -410 50 -400 70
rect -440 40 -400 50
rect -380 10 -360 105
rect -335 80 -315 165
rect -295 135 -255 145
rect -295 115 -285 135
rect -265 115 -255 135
rect -295 105 -255 115
rect -335 70 -295 80
rect -335 50 -325 70
rect -305 50 -295 70
rect -335 40 -295 50
rect -275 20 -255 105
rect -395 -5 -360 10
rect -330 0 -255 20
rect -395 -20 -370 -5
rect -330 -20 -310 0
rect -560 -30 -520 -20
rect -560 -100 -550 -30
rect -530 -100 -520 -30
rect -560 -110 -520 -100
rect -415 -30 -370 -20
rect -350 -30 -310 -20
rect -415 -100 -405 -30
rect -385 -100 -375 -30
rect -415 -110 -375 -100
rect -350 -100 -340 -30
rect -320 -100 -310 -30
rect -350 -110 -310 -100
rect -285 -30 -245 -20
rect -285 -100 -275 -30
rect -255 -100 -245 -30
rect -285 -110 -245 -100
rect -285 -170 -265 -110
rect -365 -180 -260 -170
rect -365 -200 -350 -180
rect -275 -200 -260 -180
rect -365 -210 -260 -200
rect -490 -255 -450 -245
rect -490 -275 -480 -255
rect -460 -275 -450 -255
rect -490 -285 -450 -275
rect -420 -255 -380 -245
rect -420 -275 -410 -255
rect -390 -275 -380 -255
rect -420 -285 -380 -275
<< viali >>
rect -500 750 -425 770
rect -395 605 -375 675
rect -395 330 -375 400
rect -550 175 -530 245
rect -275 175 -255 245
rect -550 -100 -530 -30
rect -275 -100 -255 -30
rect -350 -200 -275 -180
rect -480 -275 -460 -255
rect -410 -275 -390 -255
<< metal1 >>
rect -565 770 -240 785
rect -565 750 -500 770
rect -425 750 -240 770
rect -565 675 -240 750
rect -565 605 -395 675
rect -375 605 -240 675
rect -565 400 -240 605
rect -565 330 -395 400
rect -375 330 -240 400
rect -565 315 -240 330
rect -565 245 -240 260
rect -565 175 -550 245
rect -530 175 -275 245
rect -255 175 -240 245
rect -565 -30 -240 175
rect -565 -100 -550 -30
rect -530 -100 -275 -30
rect -255 -100 -240 -30
rect -565 -180 -240 -100
rect -565 -200 -350 -180
rect -275 -200 -240 -180
rect -370 -215 -255 -200
rect -565 -255 -240 -245
rect -565 -275 -480 -255
rect -460 -275 -410 -255
rect -390 -275 -240 -255
rect -565 -285 -240 -275
<< labels >>
rlabel metal1 -565 45 -565 45 7 VN
port 7 w
rlabel metal1 -565 550 -565 550 7 VP
port 6 w
rlabel locali -220 605 -220 605 3 Q
port 3 e
rlabel locali -220 330 -220 330 3 QB
port 4 e
rlabel pdiff -565 365 -565 365 7 DB
port 2 w
rlabel pdiff -565 640 -565 640 7 D
port 1 w
rlabel metal1 -565 -265 -565 -265 1 CLK
port 5 n
<< end >>
